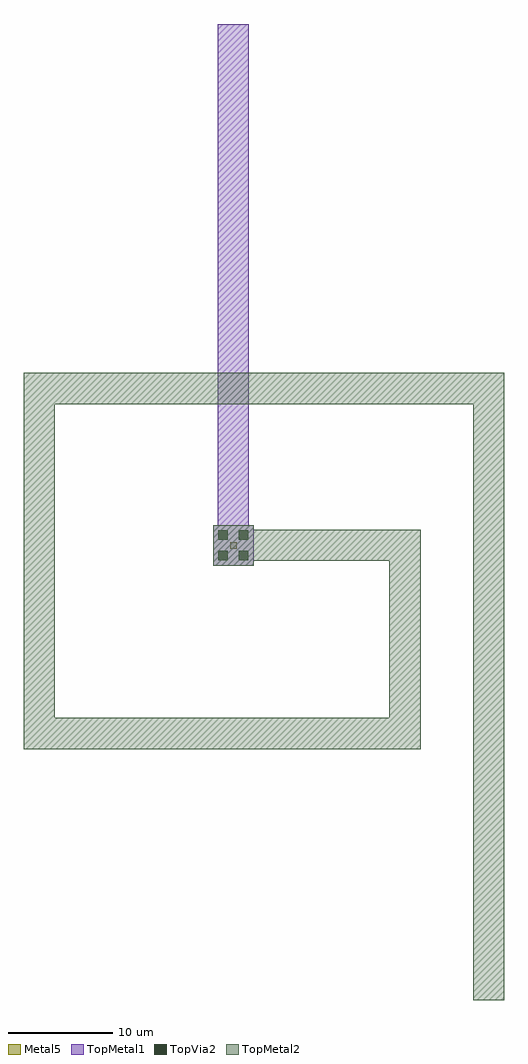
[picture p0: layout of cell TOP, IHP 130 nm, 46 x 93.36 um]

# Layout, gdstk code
import gdstk
lib = gdstk.Library(unit=1e-6, precision=1e-09)
def R(c, l, rs):  # rectangles x0, y0, x1, y1
    for r in rs: c.add(gdstk.rectangle(r[:2], r[2:], *l))
Metal5 = (67, 0)
TopMetal1 = (126, 0)
TopVia2 = (133, 0)
TopMetal2 = (134, 0)

via_stack_1 = lib.new_cell('via_stack$1')
R(via_stack_1, Metal5, [(-0.31,-0.31,0.31,0.31)])
R(via_stack_1, TopMetal1, [(-1.93,-1.93,1.93,1.93), (-0.82,-0.82,0.82,0.82)])
R(via_stack_1, TopVia2, [(-1.43,-1.43,-0.53,-0.53), (0.53,-1.43,1.43,-0.53), (-1.43,0.53,-0.53,1.43), (0.53,0.53,1.43,1.43)])
R(via_stack_1, TopMetal2, [(-1.93,-1.93,1.93,1.93)])

top = lib.new_cell('TOP')
R(top, TopMetal1, [(-25.955,15.105,-22.955,63.465)])
R(top, TopMetal2, [(-1.52,-29.895,1.48,30.105), (-44.52,-5.895,-41.52,27.105), (-41.52,-5.895,-6.52,-2.895), (-9.52,-2.895,-6.52,15.105), (-26.38,12.105,-9.52,15.105), (-44.52,27.105,-1.52,30.105)])
top.add(gdstk.Reference(via_stack_1, (-24.45,13.59)))

lib.write_gds('TOP.gds')
